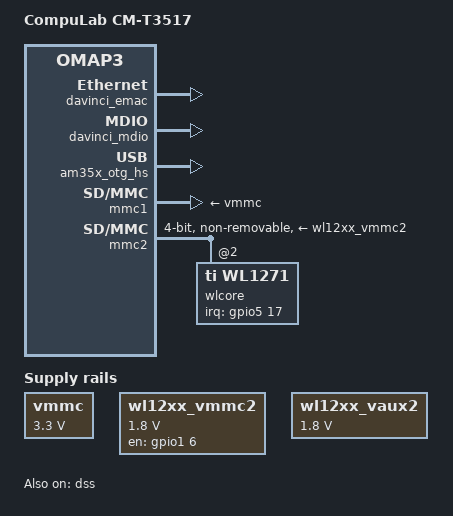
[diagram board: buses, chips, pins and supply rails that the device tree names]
// SPDX-License-Identifier: GPL-2.0
/*
 * Support for CompuLab CM-T3517
 */
/dts-v1/;

#include "am3517.dtsi"
#include "omap3-cm-t3x.dtsi"

/ {
	model = "CompuLab CM-T3517";
	compatible = "compulab,omap3-cm-t3517", "ti,am3517", "ti,omap3";

	vmmc: regulator-vmmc {
		compatible = "regulator-fixed";
		regulator-name = "vmmc";
		regulator-min-microvolt = <3300000>;
		regulator-max-microvolt = <3300000>;
	};

	wl12xx_vmmc2: wl12xx_vmmc2 {
		compatible = "regulator-fixed";
		regulator-name = "vw1271";
		pinctrl-names = "default";
		pinctrl-0 = <
				&wl12xx_wkup_pins
				&wl12xx_core_pins
			    >;
		regulator-min-microvolt = <1800000>;
		regulator-max-microvolt = <1800000>;
		gpio = <&gpio1 6 GPIO_ACTIVE_HIGH >; /* gpio6 */
		startup-delay-us = <20000>;
		enable-active-high;
	};

	wl12xx_vaux2: wl12xx_vaux2 {
		compatible = "regulator-fixed";
		regulator-name = "vwl1271_vaux2";
		regulator-min-microvolt = <1800000>;
		regulator-max-microvolt = <1800000>;
	};
};

&omap3_pmx_wkup {

	wl12xx_wkup_pins: wl12xx-wkup-pins {
		pinctrl-single,pins = <
			OMAP3_WKUP_IOPAD(0x2a0e, PIN_OUTPUT | MUX_MODE4)	/* sys_boot2.gpio_4 */
			OMAP3_WKUP_IOPAD(0x2a12, PIN_OUTPUT | MUX_MODE4)	/* sys_boot4.gpio_6 */
		>;
	};
};

&omap3_pmx_core {

	phy1_reset_pins: hsusb1-phy-reset-pins {
		pinctrl-single,pins = <
			OMAP3_CORE1_IOPAD(0x2178, PIN_OUTPUT | MUX_MODE4)	/* uart2_tx.gpio_146 */
		>;
	};

	phy2_reset_pins: hsusb2-phy-reset-pins {
		pinctrl-single,pins = <
			OMAP3_CORE1_IOPAD(0x217a, PIN_OUTPUT | MUX_MODE4)	/* uart2_rx.gpio_147 */
		>;
	};

	otg_drv_vbus: otg-drv-vbus-pins {
		pinctrl-single,pins = <
			OMAP3_CORE1_IOPAD(0x2210, PIN_INPUT_PULLDOWN | MUX_MODE0) /* rmii_50MHz_clk.usb0_drvvbus */
		>;
	};

	mmc2_pins: mmc2-pins {
		pinctrl-single,pins = <
			OMAP3_CORE1_IOPAD(0x2158, PIN_INPUT_PULLUP | MUX_MODE0)	/* sdmmc2_clk.sdmmc2_clk */
			OMAP3_CORE1_IOPAD(0x215a, PIN_INPUT_PULLUP | MUX_MODE0)	/* sdmmc2_cmd.sdmmc2_cmd */
			OMAP3_CORE1_IOPAD(0x215c, PIN_INPUT_PULLUP | MUX_MODE0)	/* sdmmc2_dat0.sdmmc2_dat0 */
			OMAP3_CORE1_IOPAD(0x215e, PIN_INPUT_PULLUP | MUX_MODE0)	/* sdmmc2_dat1.sdmmc2_dat1 */
			OMAP3_CORE1_IOPAD(0x2160, PIN_INPUT_PULLUP | MUX_MODE0)	/* sdmmc2_dat2.sdmmc2_dat2 */
			OMAP3_CORE1_IOPAD(0x2162, PIN_INPUT_PULLUP | MUX_MODE0)	/* sdmmc2_dat3.sdmmc2_dat3 */
		>;
	};

	wl12xx_core_pins: wl12xx-core-pins {
		pinctrl-single,pins = <
			OMAP3_CORE1_IOPAD(0x20b8, PIN_OUTPUT | MUX_MODE4)	/* gpmc_ncs5.gpio_56 */
			OMAP3_CORE1_IOPAD(0x2176, PIN_INPUT_PULLUP | MUX_MODE4)	/* uart2_rts.gpio_145 */
		>;
	};

	usb_hub_pins: usb-hub-pins {
		pinctrl-single,pins = <
			OMAP3_CORE1_IOPAD(0x2184, PIN_OUTPUT | MUX_MODE4)	/* mcbsp4_clkx.gpio_152 - USB HUB RST */
		>;
	};
};

&hsusb1_phy {
	pinctrl-names = "default";
	pinctrl-0 = <&phy1_reset_pins>;
	reset-gpios = <&gpio5 18 GPIO_ACTIVE_LOW>;
};

&hsusb2_phy {
	pinctrl-names = "default";
	pinctrl-0 = <&phy2_reset_pins>;
	reset-gpios = <&gpio5 19 GPIO_ACTIVE_LOW>;
};

&davinci_emac {
	status = "okay";
};

&davinci_mdio {
	status = "okay";
};

&am35x_otg_hs {
	status = "okay";
	pinctrl-names = "default";
	pinctrl-0 = <&otg_drv_vbus>;
};

&mmc1 {
	vmmc-supply = <&vmmc>;
};

&mmc2 {
	pinctrl-names = "default";
	pinctrl-0 = <&mmc2_pins>;
	vmmc-supply = <&wl12xx_vmmc2>;
	vqmmc-supply = <&wl12xx_vaux2>;
	non-removable;
	bus-width = <4>;
	cap-power-off-card;

	#address-cells = <1>;
	#size-cells = <0>;
	wlcore: wlcore@2 {
		compatible = "ti,wl1271";
		reg = <2>;
		interrupt-parent = <&gpio5>;
		interrupts = <17 IRQ_TYPE_EDGE_RISING>; /* gpio 145 */
		ref-clock-frequency = <38400000>;
	};
};

&dss {
	status = "okay";

	pinctrl-names = "default";
	pinctrl-0 = <
		&dss_dpi_pins_common
		&dss_dpi_pins_cm_t35x
	>;
};

